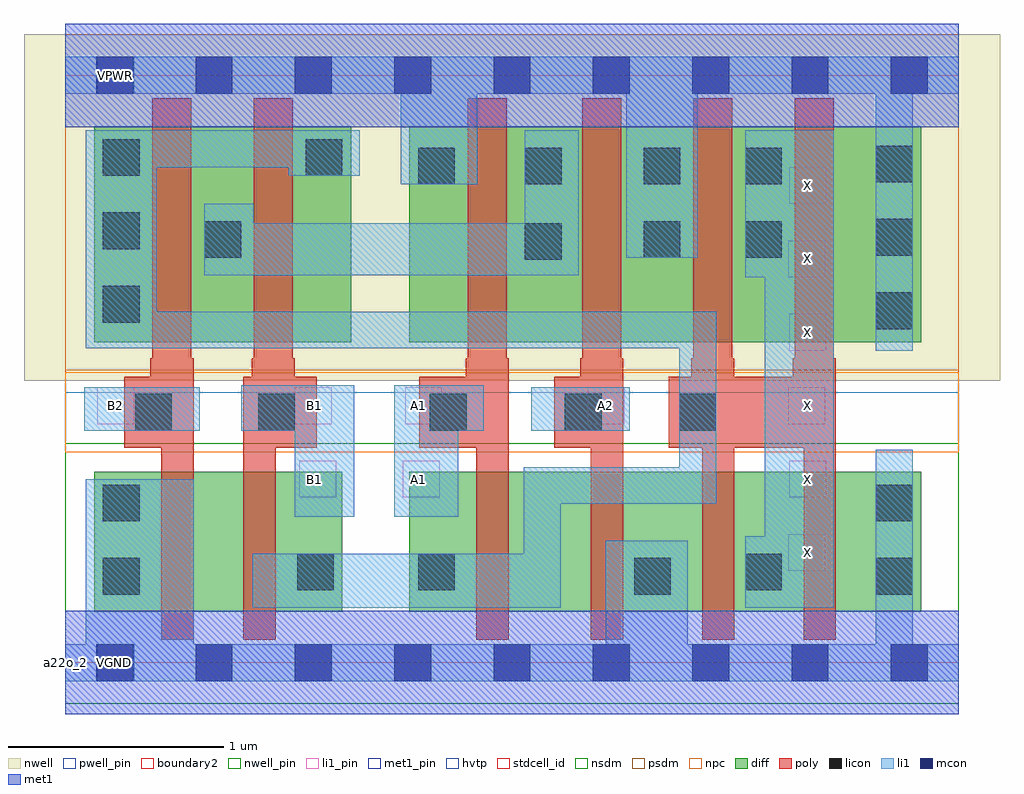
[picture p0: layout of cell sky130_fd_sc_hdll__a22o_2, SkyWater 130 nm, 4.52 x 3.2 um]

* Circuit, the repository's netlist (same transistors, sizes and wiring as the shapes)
* Copyright 2020 The SkyWater PDK Authors
*
* Licensed under the Apache License, Version 2.0 (the "License");
* you may not use this file except in compliance with the License.
* You may obtain a copy of the License at
*
*     https://www.apache.org/licenses/LICENSE-2.0
*
* Unless required by applicable law or agreed to in writing, software
* distributed under the License is distributed on an "AS IS" BASIS,
* WITHOUT WARRANTIES OR CONDITIONS OF ANY KIND, either express or implied.
* See the License for the specific language governing permissions and
* limitations under the License.
*
* SPDX-License-Identifier: Apache-2.0

.SUBCKT sky130_fd_sc_hdll__a22o_2 A1 A2 B1 B2 VGND VNB VPB VPWR X
*.PININFO A1:I A2:I B1:I B2:I VGND:I VNB:I VPB:I VPWR:I X:O
MMPA0 pndA A1 VPWR VPB sky130_fd_pr__pfet_01v8_hvt m=1 w=1.0U l=0.18U mult=1 sa=0.265
+ sb=0.265 sd=0.28 area=0.063 perim=1.14
MMPA1 pndA A2 VPWR VPB sky130_fd_pr__pfet_01v8_hvt m=1 w=1.0U l=0.18U mult=1 sa=0.265
+ sb=0.265 sd=0.28 area=0.063 perim=1.14
MMPB0 y B1 pndA VPB sky130_fd_pr__pfet_01v8_hvt m=1 w=1.0U l=0.18U mult=1 sa=0.265
+ sb=0.265 sd=0.28 area=0.063 perim=1.14
MMPB1 y B2 pndA VPB sky130_fd_pr__pfet_01v8_hvt m=1 w=1.0U l=0.18U mult=1 sa=0.265
+ sb=0.265 sd=0.28 area=0.063 perim=1.14
MMIPX X y VPWR VPB sky130_fd_pr__pfet_01v8_hvt m=2 w=1.0U l=0.18U mult=1 sa=0.265
+ sb=0.265 sd=0.28 area=0.063 perim=1.14
MMNA0 y A1 sndA1 VNB sky130_fd_pr__nfet_01v8 m=1 w=0.65U l=0.15U mult=1 sa=0.265
+ sb=0.265 sd=0.28 area=0.063 perim=1.14
MMNA1 sndA1 A2 VGND VNB sky130_fd_pr__nfet_01v8 m=1 w=0.65U l=0.15U mult=1 sa=0.265
+ sb=0.265 sd=0.28 area=0.063 perim=1.14
MMNB0 y B1 sndB1 VNB sky130_fd_pr__nfet_01v8 m=1 w=0.65U l=0.15U mult=1 sa=0.265
+ sb=0.265 sd=0.28 area=0.063 perim=1.14
MMNB1 sndB1 B2 VGND VNB sky130_fd_pr__nfet_01v8 m=1 w=0.65U l=0.15U mult=1 sa=0.265
+ sb=0.265 sd=0.28 area=0.063 perim=1.14
MMINX X y VGND VNB sky130_fd_pr__nfet_01v8 m=2 w=0.65U l=0.15U mult=1 sa=0.265
+ sb=0.265 sd=0.28 area=0.063 perim=1.14
.ENDS sky130_fd_sc_hdll__a22o_2

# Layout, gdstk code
import gdstk
lib = gdstk.Library(unit=1e-6, precision=1e-09)
def R(c, l, rs):  # rectangles x0, y0, x1, y1
    for r in rs: c.add(gdstk.rectangle(r[:2], r[2:], *l))
def A(c, l, x, y, w, h, nx, ny, dx, dy):  # array of equal rectangles
    R(c, l, [(x+i*dx, y+j*dy, x+i*dx+w, y+j*dy+h) for i in range(nx) for j in range(ny)])
def P(c, l, *ps):  # polygons
    for p in ps: c.add(gdstk.Polygon(p, *l))
nwell_pin = (64, 16)
nwell = (64, 20)
diff = (65, 20)
poly = (66, 20)
licon = (66, 44)
li1_pin = (67, 16)
li1 = (67, 20)
mcon = (67, 44)
met1_pin = (68, 16)
met1 = (68, 20)
hvtp = (78, 44)
stdcell_id = (81, 4)
nsdm = (93, 44)
psdm = (94, 20)
npc = (95, 20)
pwell_pin = (122, 16)
boundary2 = (236, 0)

sky130_fd_sc_hdll__a22o_ = lib.new_cell('sky130_fd_sc_hdll__a22o_2')
R(sky130_fd_sc_hdll__a22o_, nwell_pin, [(0.15,2.635,0.32,2.805)])
R(sky130_fd_sc_hdll__a22o_, nwell, [(-0.19,1.305,4.33,2.91)])
R(sky130_fd_sc_hdll__a22o_, diff, [(0.135,0.235,1.285,0.885), (1.595,0.235,3.965,0.885), (0.135,1.485,1.325,2.485), (1.595,1.485,3.965,2.485)])
P(sky130_fd_sc_hdll__a22o_, poly, [(0.595,1.41),(0.585,1.41),(0.585,2.615),(0.405,2.615),(0.405,1.41),(0.395,1.41),(0.395,1.325),(0.275,1.325),(0.275,0.995),(0.445,0.995),(0.445,0.105),(0.595,0.105)],
  [(1.165,1.325),(1.065,1.325),(1.065,1.41),(1.055,1.41),(1.055,2.615),(0.875,2.615),(0.875,1.41),(0.865,1.41),(0.865,1.325),(0.825,1.325),(0.825,0.105),(0.975,0.105),(0.975,0.995),(1.165,0.995)],
  [(2.055,1.41),(2.045,1.41),(2.045,2.615),(1.865,2.615),(1.865,1.41),(1.855,1.41),(1.855,1.325),(1.64,1.325),(1.64,0.995),(1.905,0.995),(1.905,0.105),(2.055,0.105)],
  [(2.585,1.41),(2.575,1.41),(2.575,2.615),(2.395,2.615),(2.395,1.41),(2.385,1.41),(2.385,1.325),(2.265,1.325),(2.265,0.995),(2.435,0.995),(2.435,0.105),(2.585,0.105)],
  [(3.57,1.41),(3.56,1.41),(3.56,2.615),(3.38,2.615),(3.38,1.41),(3.37,1.41),(3.37,1.325),(3.1,1.325),(3.1,1.41),(3.09,1.41),(3.09,2.615),(2.91,2.615),(2.91,1.41),(2.9,1.41),(2.9,1.325),(2.795,1.325),(2.795,0.995),(2.95,0.995),(2.95,0.105),(3.1,0.105),(3.1,0.995),(3.42,0.995),(3.42,0.105),(3.57,0.105)])
A(sky130_fd_sc_hdll__a22o_, licon, 3.755, 1.545, 0.17, 0.17, 1, 3, 0, 0.34)
A(sky130_fd_sc_hdll__a22o_, licon, 0.175, 1.575, 0.17, 0.17, 1, 3, 0, 0.34)
R(sky130_fd_sc_hdll__a22o_, licon, [(0.175,0.315,0.345,0.485), (2.635,0.315,2.805,0.485), (3.755,0.315,3.925,0.485), (1.075,0.335,1.245,0.505), (1.635,0.335,1.805,0.505), (3.15,0.335,3.32,0.505), (0.175,0.655,0.345,0.825), (3.755,0.655,3.925,0.825), (0.325,1.075,0.495,1.245), (0.895,1.075,1.065,1.245), (1.69,1.075,1.86,1.245), (2.315,1.075,2.485,1.245), (2.845,1.075,3.015,1.245), (2.13,1.865,2.3,2.035), (0.645,1.875,0.815,2.045), (2.68,1.875,2.85,2.045), (3.15,1.875,3.32,2.045), (1.635,2.215,1.805,2.385), (2.13,2.215,2.3,2.385), (2.68,2.215,2.85,2.385), (3.15,2.215,3.32,2.385), (1.115,2.255,1.285,2.425)])
A(sky130_fd_sc_hdll__a22o_, li1_pin, 3.35, 0.425, 0.17, 0.17, 1, 3, 0, 0.68)
A(sky130_fd_sc_hdll__a22o_, li1_pin, 3.355, 0.765, 0.17, 0.17, 1, 3, 0, 0.68)
R(sky130_fd_sc_hdll__a22o_, li1_pin, [(1.085,0.765,1.255,0.935), (1.565,0.765,1.735,0.935), (0.15,1.105,0.32,1.275), (1.065,1.105,1.235,1.275), (1.575,1.105,1.745,1.275), (2.42,1.105,2.59,1.275)])
R(sky130_fd_sc_hdll__a22o_, li1, [(0.09,1.075,0.625,1.275), (2.16,1.075,2.615,1.275)])
P(sky130_fd_sc_hdll__a22o_, li1, [(4.14,0.085),(3.925,0.085),(3.925,0.985),(3.755,0.985),(3.755,0.085),(2.885,0.085),(2.885,0.565),(2.505,0.565),(2.505,0.085),(0.595,0.085),(0.595,0.85),(0.095,0.85),(0.095,0.085),(0,0.085),(0,-0.085),(4.14,-0.085)],
  [(4.14,2.805),(0,2.805),(0,2.635),(1.555,2.635),(1.555,2.215),(1.91,2.215),(1.91,2.635),(2.6,2.635),(2.6,1.875),(2.93,1.875),(2.93,2.635),(3.755,2.635),(3.755,1.445),(3.925,1.445),(3.925,2.635),(4.14,2.635)],
  [(1.34,1.285),(0.815,1.285),(0.815,1.075),(1.065,1.075),(1.065,0.675),(1.34,0.675)],
  [(3.56,2.465),(3.15,2.465),(3.15,1.785),(3.24,1.785),(3.24,0.585),(3.15,0.585),(3.15,0.255),(3.56,0.255)],
  [(3.015,1.625),(0.425,1.625),(0.425,2.295),(1.035,2.295),(1.035,2.255),(1.365,2.255),(1.365,2.465),(0.095,2.465),(0.095,1.455),(2.845,1.455),(2.845,0.905),(2.125,0.905),(2.125,0.505),(0.87,0.505),(0.87,0.255),(2.295,0.255),(2.295,0.735),(3.015,0.735)],
  [(2.38,2.465),(2.13,2.465),(2.13,2.035),(0.875,2.035),(0.875,2.125),(0.645,2.125),(0.645,1.795),(2.38,1.795)],
  [(1.94,1.285),(1.525,1.285),(1.525,0.675),(1.82,0.675),(1.82,1.075),(1.94,1.075)])
A(sky130_fd_sc_hdll__a22o_, mcon, 0.145, -0.085, 0.17, 0.17, 9, 2, 0.46, 2.72)
R(sky130_fd_sc_hdll__a22o_, met1_pin, [(0.15,-0.085,0.32,0.085), (0.15,2.635,0.32,2.805)])
R(sky130_fd_sc_hdll__a22o_, met1, [(0,-0.24,4.14,0.24), (0,2.48,4.14,2.96)])
R(sky130_fd_sc_hdll__a22o_, hvtp, [(0,1.25,4.14,2.72)])
R(sky130_fd_sc_hdll__a22o_, stdcell_id, [(0,0,4.14,2.72)])
R(sky130_fd_sc_hdll__a22o_, nsdm, [(0,-0.19,4.14,1.015)])
R(sky130_fd_sc_hdll__a22o_, psdm, [(0,1.355,4.14,2.91)])
R(sky130_fd_sc_hdll__a22o_, npc, [(0,0.975,4.14,1.345)])
R(sky130_fd_sc_hdll__a22o_, pwell_pin, [(0.15,-0.085,0.32,0.085)])
R(sky130_fd_sc_hdll__a22o_, boundary2, [(0,0,4.14,2.72)])
sky130_fd_sc_hdll__a22o_.add(gdstk.Label('A1', (1.635,1.19), layer=67, texttype=5))
sky130_fd_sc_hdll__a22o_.add(gdstk.Label('A2', (2.505,1.19), layer=67, texttype=5))
sky130_fd_sc_hdll__a22o_.add(gdstk.Label('X', (3.44,2.21), layer=67, texttype=5))
sky130_fd_sc_hdll__a22o_.add(gdstk.Label('B2', (0.235,1.19), layer=67, texttype=5))
sky130_fd_sc_hdll__a22o_.add(gdstk.Label('B1', (1.155,1.19), layer=67, texttype=5))
sky130_fd_sc_hdll__a22o_.add(gdstk.Label('A1', (1.635,0.85), layer=67, texttype=5))
sky130_fd_sc_hdll__a22o_.add(gdstk.Label('B1', (1.155,0.85), layer=67, texttype=5))
sky130_fd_sc_hdll__a22o_.add(gdstk.Label('X', (3.44,1.87), layer=67, texttype=5))
sky130_fd_sc_hdll__a22o_.add(gdstk.Label('X', (3.44,1.19), layer=67, texttype=5))
sky130_fd_sc_hdll__a22o_.add(gdstk.Label('X', (3.44,1.53), layer=67, texttype=5))
sky130_fd_sc_hdll__a22o_.add(gdstk.Label('X', (3.44,0.51), layer=67, texttype=5))
sky130_fd_sc_hdll__a22o_.add(gdstk.Label('X', (3.44,0.85), layer=67, texttype=5))
sky130_fd_sc_hdll__a22o_.add(gdstk.Label('VPWR', (0.235,2.72), layer=68, texttype=5))
sky130_fd_sc_hdll__a22o_.add(gdstk.Label('VGND', (0.23,0), layer=68, texttype=5))
sky130_fd_sc_hdll__a22o_.add(gdstk.Label('VPB', (0.235,2.72), layer=64, texttype=5))
sky130_fd_sc_hdll__a22o_.add(gdstk.Label('VNB', (0.23,0), layer=64, texttype=59))
sky130_fd_sc_hdll__a22o_.add(gdstk.Label('a22o_2', (0,0), layer=83, texttype=44))

lib.write_gds('sky130_fd_sc_hdll__a22o_2.gds')
